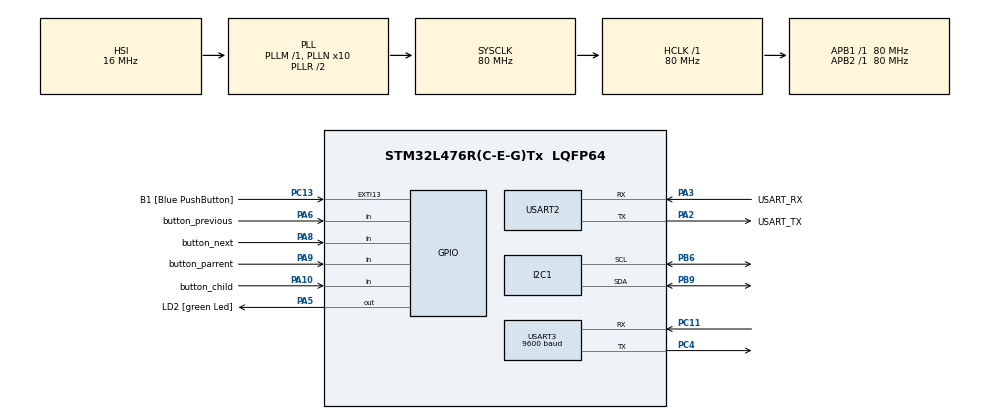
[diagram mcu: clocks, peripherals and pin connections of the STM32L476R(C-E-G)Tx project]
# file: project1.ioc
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Mcu.Family=STM32L4
Mcu.Name=STM32L476R(C-E-G)Tx
Mcu.Package=LQFP64
NVIC.EXTI15_10_IRQn=true\:0\:0\:false\:false\:true\:true\:true
NVIC.PriorityGroup=NVIC_PRIORITYGROUP_4
NVIC.USART2_IRQn=true\:0\:0\:false\:false\:true\:true\:true
NVIC.USART3_IRQn=true\:0\:0\:false\:false\:true\:true\:true
PA10.GPIO_Label=button_child
PA10.Signal=GPIO_Input
PA13\ (JTMS-SWDIO).GPIO_Label=TMS
PA13\ (JTMS-SWDIO).Mode=Serial_Wire
PA13\ (JTMS-SWDIO).Signal=SYS_JTMS-SWDIO
PA14\ (JTCK-SWCLK).GPIO_Label=TCK
PA14\ (JTCK-SWCLK).Mode=Serial_Wire
PA14\ (JTCK-SWCLK).Signal=SYS_JTCK-SWCLK
PA2.GPIO_Label=USART_TX
PA2.GPIO_Mode=GPIO_MODE_AF_PP
PA2.GPIO_PuPd=GPIO_NOPULL
PA2.GPIO_Speed=GPIO_SPEED_FREQ_VERY_HIGH
PA2.Mode=Asynchronous
PA2.Signal=USART2_TX
PA3.GPIO_Label=USART_RX
PA3.GPIO_Mode=GPIO_MODE_AF_PP
PA3.GPIO_PuPd=GPIO_NOPULL
PA3.GPIO_Speed=GPIO_SPEED_FREQ_VERY_HIGH
PA3.Mode=Asynchronous
PA3.Signal=USART2_RX
PA5.GPIO_Label=LD2 [green Led]
PA5.GPIO_ModeDefaultOutputPP=GPIO_MODE_OUTPUT_PP
PA5.GPIO_PuPd=GPIO_NOPULL
PA5.GPIO_Speed=GPIO_SPEED_FREQ_LOW
PA5.PinState=GPIO_PIN_RESET
PA5.Signal=GPIO_Output
PA6.GPIO_Label=button_previous
PA6.Signal=GPIO_Input
PA8.GPIO_Label=button_next
PA8.Signal=GPIO_Input
PA9.GPIO_Label=button_parrent
PA9.Signal=GPIO_Input
PB3\ (JTDO-TRACESWO).GPIO_Label=SWO
PB3\ (JTDO-TRACESWO).Signal=SYS_JTDO-SWO
PB6.Mode=I2C
PB6.Signal=I2C1_SCL
PB9.Mode=I2C
PB9.Signal=I2C1_SDA
PC11.Mode=Asynchronous
PC11.Signal=USART3_RX
PC13.GPIO_Label=B1 [Blue PushButton]
PC13.GPIO_ModeDefaultEXTI=GPIO_MODE_IT_FALLING
PC13.GPIO_PuPd=GPIO_NOPULL
PC13.Signal=GPXTI13
PC14-OSC32_IN\ (PC14).Mode=LSE-External-Oscillator
PC14-OSC32_IN\ (PC14).Signal=RCC_OSC32_IN
PC15-OSC32_OUT\ (PC15).Mode=LSE-External-Oscillator
PC15-OSC32_OUT\ (PC15).Signal=RCC_OSC32_OUT
PC4.Mode=Asynchronous
PC4.Signal=USART3_TX
PH0-OSC_IN\ (PH0).Signal=RCC_OSC_IN
PH1-OSC_OUT\ (PH1).Signal=RCC_OSC_OUT
ProjectManager.HeapSize=0x200
ProjectManager.StackSize=0x400
ProjectManager.TargetToolchain=STM32CubeIDE
RCC.ADCFreq_Value=64000000
RCC.AHBFreq_Value=80000000
RCC.APB1Freq_Value=80000000
RCC.APB1TimFreq_Value=80000000
RCC.APB2Freq_Value=80000000
RCC.APB2TimFreq_Value=80000000
RCC.CortexFreq_Value=80000000
RCC.HCLKFreq_Value=80000000
RCC.HSE_VALUE=8000000
RCC.HSI_VALUE=16000000
RCC.MSI_VALUE=4000000
RCC.PLLN=10
RCC.PLLSourceVirtual=RCC_PLLSOURCE_HSI
RCC.PREFETCH_ENABLE=1
RCC.SYSCLKFreq_VALUE=80000000
RCC.SYSCLKSource=RCC_SYSCLKSOURCE_PLLCLK
RCC.USBFreq_Value=64000000
RCC.VCOOutputFreq_Value=160000000
USART2.VirtualMode-Asynchronous=VM_ASYNC
USART3.BaudRate=9600
USART3.VirtualMode-Asynchronous=VM_ASYNC
board=NUCLEO-L476RG

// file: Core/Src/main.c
/* USER CODE BEGIN Header */
/**
  ******************************************************************************
  * @file           : main.c
  * @brief          : Main program body
  ******************************************************************************
  * @attention
  *
  * <h2><center>&copy; Copyright (c) 2021 STMicroelectronics.
  * All rights reserved.</center></h2>
  *
  * This software component is licensed by ST under BSD 3-Clause license,
  * the "License"; You may not use this file except in compliance with the
  * License. You may obtain a copy of the License at:
  *                        opensource.org/licenses/BSD-3-Clause
  *
  ******************************************************************************
  */
/* USER CODE END Header */

#include "main.h"
#include "i2c.h"
#include "usart.h"
#include "gpio.h"

/* USER CODE BEGIN Includes */
#include "gps.h"
#include "ssd1306.h"
#include "fonts.h"
#include "menu.h"
/* USER CODE END Includes */

/* USER CODE BEGIN PV */
uint8_t MessageLength;
uint8_t Message[64];
uint8_t button_state[4] = {0,0,0,0};
uint8_t data_display = 0;
uint8_t sec_status;
/* USER CODE END PV */

void SystemClock_Config(void);

/* USER CODE BEGIN 0 */
I2C_HandleTypeDef hi2c1;
/* USER CODE END 0 */

int main(void)
{

  /* MCU Configuration--------------------------------------------------------*/

  /* Reset of all peripherals, Initializes the Flash interface and the Systick. */
  HAL_Init();

  /* Configure the system clock */
  SystemClock_Config();

  /* Initialize all configured peripherals */
  MX_GPIO_Init();
  MX_USART2_UART_Init();
  MX_USART3_UART_Init();
  MX_I2C1_Init();
  /* USER CODE BEGIN 2 */
  GPS_Init();
  ssd1306_Init(&hi2c1);
  menu_show(current_menu->name, hi2c1);
  /* USER CODE END 2 */

  /* Infinite loop */
  /* USER CODE BEGIN WHILE */
  while (1)
  {
	  button_check();
	  screen_refresh();
//		HAL_UART_Transmit(DEBUG_USART, "DATA\r\n", 6, 100);
//		MessageLength = sprintf((char*)Message, "sec: %i",GPS_data.UTC_Sec);
//		HAL_UART_Transmit(DEBUG_USART, Message, MessageLength, 100);
//		HAL_UART_Transmit(DEBUG_USART, "\r\n", 2, 100);
//		HAL_UART_Transmit(DEBUG_USART, &GPS_data.ew, 1, 100);
//		HAL_UART_Transmit(DEBUG_USART, &GPS_data.ns, 1, 100);
//		HAL_UART_Transmit(DEBUG_USART, "\r\n", 2, 100);
//		HAL_UART_Transmit(DEBUG_USART, "END\r\n", 5, 100);
//		HAL_Delay(1000);
    /* USER CODE END WHILE */

  }
}

void SystemClock_Config(void)
{
  RCC_OscInitTypeDef RCC_OscInitStruct = {0};
  RCC_ClkInitTypeDef RCC_ClkInitStruct = {0};
  RCC_PeriphCLKInitTypeDef PeriphClkInit = {0};

  /** Initializes the CPU, AHB and APB busses clocks
  */
  RCC_OscInitStruct.OscillatorType = RCC_OSCILLATORTYPE_HSI;
  RCC_OscInitStruct.HSIState = RCC_HSI_ON;
  RCC_OscInitStruct.HSICalibrationValue = RCC_HSICALIBRATION_DEFAULT;
  RCC_OscInitStruct.PLL.PLLState = RCC_PLL_ON;
  RCC_OscInitStruct.PLL.PLLSource = RCC_PLLSOURCE_HSI;
  RCC_OscInitStruct.PLL.PLLM = 1;
  RCC_OscInitStruct.PLL.PLLN = 10;
  RCC_OscInitStruct.PLL.PLLP = RCC_PLLP_DIV7;
  RCC_OscInitStruct.PLL.PLLQ = RCC_PLLQ_DIV2;
  RCC_OscInitStruct.PLL.PLLR = RCC_PLLR_DIV2;
  if (HAL_RCC_OscConfig(&RCC_OscInitStruct) != HAL_OK)
  {
    Error_Handler();
  }
  /** Initializes the CPU, AHB and APB busses clocks
  */
  RCC_ClkInitStruct.ClockType = RCC_CLOCKTYPE_HCLK|RCC_CLOCKTYPE_SYSCLK
                              |RCC_CLOCKTYPE_PCLK1|RCC_CLOCKTYPE_PCLK2;
  RCC_ClkInitStruct.SYSCLKSource = RCC_SYSCLKSOURCE_PLLCLK;
  RCC_ClkInitStruct.AHBCLKDivider = RCC_SYSCLK_DIV1;
  RCC_ClkInitStruct.APB1CLKDivider = RCC_HCLK_DIV1;
  RCC_ClkInitStruct.APB2CLKDivider = RCC_HCLK_DIV1;

  if (HAL_RCC_ClockConfig(&RCC_ClkInitStruct, FLASH_LATENCY_4) != HAL_OK)
  {
    Error_Handler();
  }
  PeriphClkInit.PeriphClockSelection = RCC_PERIPHCLK_USART2|RCC_PERIPHCLK_USART3
                              |RCC_PERIPHCLK_I2C1;
  PeriphClkInit.Usart2ClockSelection = RCC_USART2CLKSOURCE_PCLK1;
  PeriphClkInit.Usart3ClockSelection = RCC_USART3CLKSOURCE_PCLK1;
  PeriphClkInit.I2c1ClockSelection = RCC_I2C1CLKSOURCE_PCLK1;
  if (HAL_RCCEx_PeriphCLKConfig(&PeriphClkInit) != HAL_OK)
  {
    Error_Handler();
  }
  /** Configure the main internal regulator output voltage
  */
  if (HAL_PWREx_ControlVoltageScaling(PWR_REGULATOR_VOLTAGE_SCALE1) != HAL_OK)
  {
    Error_Handler();
  }
}

/* USER CODE BEGIN 4 */
void HAL_UART_RxCpltCallback(UART_HandleTypeDef *huart)
{
	if(huart == GPS_USART)
	{
		GPS_CallBack();
	}
}

uint8_t debounce_button(uint16_t GPIO_Pin)
{
	HAL_Delay(50);
	if(!HAL_GPIO_ReadPin (GPIOA, GPIO_Pin))
		return 1;
	else
		return 0;
}

void release_button(uint16_t GPIO_Pin, uint8_t *state)
{
	if (*state && HAL_GPIO_ReadPin(GPIOA, GPIO_Pin))
	{
		*state = 0;
	}
}

void screen_refresh(void)
{
	if (data_display && (sec_status != GPS_data.UTC_Sec))
	{
		sec_status = GPS_data.UTC_Sec;
		menu_show(current_menu->menu_f(), hi2c1);
	}
}

void button_check(void)
{
	if(!button_state[0] && !HAL_GPIO_ReadPin(GPIOA, button_child_Pin))
	{
		sec_status = GPS_data.UTC_Sec;
		button_state[0] = 1;
		if(debounce_button(button_child_Pin))
		{
			if (current_menu->menu_f)
			{
				data_display = 1;
				menu_show(current_menu->menu_f(), hi2c1);
			}
			else
			{
				menu_sw_child();
				menu_show(current_menu->name, hi2c1);
			}
		}
	}
	if(!button_state[1] && !HAL_GPIO_ReadPin(GPIOA, button_parrent_Pin))
	{
		button_state[1] = 1;
		if(debounce_button(button_parrent_Pin))
		{
			if (data_display)
			{
				data_display = 0;
				menu_show(current_menu->name, hi2c1);
			}
			else
			{
				menu_sw_parent();
				menu_show(current_menu->name, hi2c1);
			}
		}
	}
	if(!button_state[2] && !HAL_GPIO_ReadPin(GPIOA, button_next_Pin))
	{
		button_state[2] = 1;
		if(debounce_button(button_next_Pin) && !data_display)
		{
			menu_sw_next();
			menu_show(current_menu->name, hi2c1);
		}
	}
	if(!button_state[3] && !HAL_GPIO_ReadPin(GPIOA, button_previous_Pin))
	{
		button_state[3] = 1;
		if(debounce_button(button_previous_Pin) && !data_display)
		{
			menu_sw_previous();
			menu_show(current_menu->name, hi2c1);
		}
	}

	release_button(button_child_Pin, &button_state[0]);
	release_button(button_parrent_Pin, &button_state[1]);
	release_button(button_next_Pin, &button_state[2]);
	release_button(button_previous_Pin, &button_state[3]);
}

/* USER CODE END 4 */

void Error_Handler(void)
{
}

/************************ (C) COPYRIGHT STMicroelectronics *****END OF FILE****/
